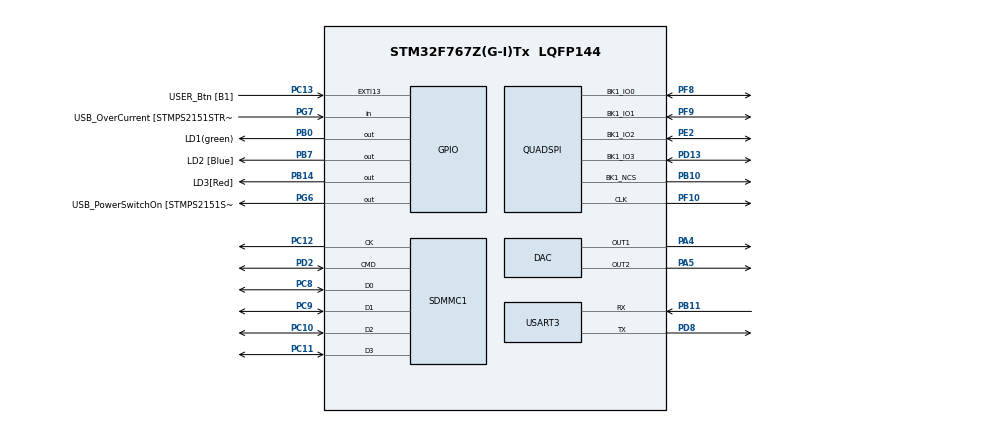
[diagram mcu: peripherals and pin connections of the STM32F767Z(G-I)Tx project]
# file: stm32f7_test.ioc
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CORTEX_M7.ART_ACCLERATOR_ENABLE=1
CORTEX_M7.CPU_DCache=Enabled
CORTEX_M7.CPU_ICache=Enabled
CORTEX_M7.PREFETCH_ENABLE=1
DMA2D.ColorMode=DMA2D_OUTPUT_ARGB4444
Dma.DAC1.0.Direction=DMA_MEMORY_TO_PERIPH
Dma.DAC1.0.FIFOMode=DMA_FIFOMODE_DISABLE
Dma.DAC1.0.Instance=DMA1_Stream5
Dma.DAC1.0.MemDataAlignment=DMA_MDATAALIGN_HALFWORD
Dma.DAC1.0.MemInc=DMA_MINC_ENABLE
Dma.DAC1.0.Mode=DMA_CIRCULAR
Dma.DAC1.0.PeriphDataAlignment=DMA_PDATAALIGN_HALFWORD
Dma.DAC1.0.PeriphInc=DMA_PINC_DISABLE
Dma.DAC1.0.Priority=DMA_PRIORITY_LOW
Dma.DAC2.1.Direction=DMA_MEMORY_TO_PERIPH
Dma.DAC2.1.FIFOMode=DMA_FIFOMODE_DISABLE
Dma.DAC2.1.Instance=DMA1_Stream6
Dma.DAC2.1.MemDataAlignment=DMA_MDATAALIGN_HALFWORD
Dma.DAC2.1.MemInc=DMA_MINC_ENABLE
Dma.DAC2.1.Mode=DMA_CIRCULAR
Dma.DAC2.1.PeriphDataAlignment=DMA_PDATAALIGN_HALFWORD
Dma.DAC2.1.PeriphInc=DMA_PINC_DISABLE
Dma.DAC2.1.Priority=DMA_PRIORITY_LOW
Dma.JPEG_IN.4.Direction=DMA_MEMORY_TO_PERIPH
Dma.JPEG_IN.4.FIFOMode=DMA_FIFOMODE_ENABLE
Dma.JPEG_IN.4.FIFOThreshold=DMA_FIFO_THRESHOLD_FULL
Dma.JPEG_IN.4.Instance=DMA2_Stream0
Dma.JPEG_IN.4.MemBurst=DMA_MBURST_INC4
Dma.JPEG_IN.4.MemDataAlignment=DMA_MDATAALIGN_WORD
Dma.JPEG_IN.4.MemInc=DMA_MINC_ENABLE
Dma.JPEG_IN.4.Mode=DMA_NORMAL
Dma.JPEG_IN.4.PeriphBurst=DMA_PBURST_INC4
Dma.JPEG_IN.4.PeriphDataAlignment=DMA_PDATAALIGN_WORD
Dma.JPEG_IN.4.PeriphInc=DMA_PINC_DISABLE
Dma.JPEG_IN.4.Priority=DMA_PRIORITY_LOW
Dma.JPEG_OUT.3.Direction=DMA_PERIPH_TO_MEMORY
Dma.JPEG_OUT.3.FIFOMode=DMA_FIFOMODE_ENABLE
Dma.JPEG_OUT.3.FIFOThreshold=DMA_FIFO_THRESHOLD_FULL
Dma.JPEG_OUT.3.Instance=DMA2_Stream1
Dma.JPEG_OUT.3.MemBurst=DMA_MBURST_INC4
Dma.JPEG_OUT.3.MemDataAlignment=DMA_MDATAALIGN_WORD
Dma.JPEG_OUT.3.MemInc=DMA_MINC_ENABLE
Dma.JPEG_OUT.3.Mode=DMA_NORMAL
Dma.JPEG_OUT.3.PeriphBurst=DMA_PBURST_INC4
Dma.JPEG_OUT.3.PeriphDataAlignment=DMA_PDATAALIGN_WORD
Dma.JPEG_OUT.3.PeriphInc=DMA_PINC_DISABLE
Dma.JPEG_OUT.3.Priority=DMA_PRIORITY_LOW
Dma.QUADSPI.6.Direction=DMA_PERIPH_TO_MEMORY
Dma.QUADSPI.6.FIFOMode=DMA_FIFOMODE_DISABLE
Dma.QUADSPI.6.Instance=DMA2_Stream2
Dma.QUADSPI.6.MemDataAlignment=DMA_MDATAALIGN_BYTE
Dma.QUADSPI.6.MemInc=DMA_MINC_ENABLE
Dma.QUADSPI.6.Mode=DMA_CIRCULAR
Dma.QUADSPI.6.PeriphDataAlignment=DMA_PDATAALIGN_BYTE
Dma.QUADSPI.6.PeriphInc=DMA_PINC_DISABLE
Dma.QUADSPI.6.Priority=DMA_PRIORITY_HIGH
Dma.Request0=DAC1
Dma.Request1=DAC2
Dma.Request2=SDMMC1
Dma.Request3=JPEG_OUT
Dma.Request4=JPEG_IN
Dma.Request5=USART3_TX
Dma.Request6=QUADSPI
Dma.SDMMC1.2.Direction=DMA_PERIPH_TO_MEMORY
Dma.SDMMC1.2.FIFOMode=DMA_FIFOMODE_ENABLE
Dma.SDMMC1.2.FIFOThreshold=DMA_FIFO_THRESHOLD_FULL
Dma.SDMMC1.2.Instance=DMA2_Stream3
Dma.SDMMC1.2.MemBurst=DMA_MBURST_INC4
Dma.SDMMC1.2.MemDataAlignment=DMA_MDATAALIGN_WORD
Dma.SDMMC1.2.MemInc=DMA_MINC_ENABLE
Dma.SDMMC1.2.Mode=DMA_PFCTRL
Dma.SDMMC1.2.PeriphBurst=DMA_PBURST_INC4
Dma.SDMMC1.2.PeriphDataAlignment=DMA_PDATAALIGN_WORD
Dma.SDMMC1.2.PeriphInc=DMA_PINC_DISABLE
Dma.SDMMC1.2.Priority=DMA_PRIORITY_LOW
Dma.USART3_TX.5.Direction=DMA_MEMORY_TO_PERIPH
Dma.USART3_TX.5.FIFOMode=DMA_FIFOMODE_DISABLE
Dma.USART3_TX.5.Instance=DMA1_Stream3
Dma.USART3_TX.5.MemDataAlignment=DMA_MDATAALIGN_BYTE
Dma.USART3_TX.5.MemInc=DMA_MINC_ENABLE
Dma.USART3_TX.5.Mode=DMA_NORMAL
Dma.USART3_TX.5.PeriphDataAlignment=DMA_PDATAALIGN_BYTE
Dma.USART3_TX.5.PeriphInc=DMA_PINC_DISABLE
Dma.USART3_TX.5.Priority=DMA_PRIORITY_LOW
FATFS._CODE_PAGE=932
FATFS._FS_RPATH=2
FATFS._USE_CHMOD=1
FATFS._USE_FIND=1
FATFS._USE_LFN=2
FATFS._USE_MKFS=0
JPEG.JPEG_RGB_FORMAT=JPEG_RGB565
JPEG.USE_JPEG_DECODER=1
JPEG.USE_JPEG_ENCODER=0
Mcu.Family=STM32F7
Mcu.Name=STM32F767Z(G-I)Tx
Mcu.Package=LQFP144
NVIC.DMA1_Stream3_IRQn=true\:0\:0\:false\:false\:true\:false
NVIC.DMA1_Stream5_IRQn=true\:0\:0\:false\:false\:true\:false
NVIC.DMA1_Stream6_IRQn=true\:0\:0\:false\:false\:true\:false
NVIC.DMA2_Stream0_IRQn=true\:0\:0\:false\:false\:true\:false
NVIC.DMA2_Stream1_IRQn=true\:0\:0\:false\:false\:true\:false
NVIC.DMA2_Stream2_IRQn=true\:0\:0\:false\:false\:true\:true
NVIC.DMA2_Stream3_IRQn=true\:0\:0\:false\:false\:true\:false
NVIC.JPEG_IRQn=true\:0\:0\:false\:false\:true\:false
NVIC.PriorityGroup=NVIC_PRIORITYGROUP_4
PA1.GPIO_Label=RMII_REF_CLK [LAN8742A-CZ-TR_REFCLK0]
PA1.Signal=ETH_REF_CLK
PA10.GPIO_Label=USB_ID
PA10.Signal=USB_OTG_FS_ID
PA11.GPIO_Label=USB_DM
PA11.Signal=USB_OTG_FS_DM
PA12.GPIO_Label=USB_DP
PA12.Signal=USB_OTG_FS_DP
PA13.GPIO_Label=TMS
PA13.Mode=Serial_Wire
PA13.Signal=SYS_JTMS-SWDIO
PA14.GPIO_Label=TCK
PA14.Mode=Serial_Wire
PA14.Signal=SYS_JTCK-SWCLK
PA2.GPIO_Label=RMII_MDIO [LAN8742A-CZ-TR_MDIO]
PA2.Signal=ETH_MDIO
PA4.Signal=COMP_DAC1_group
PA5.Signal=COMP_DAC2_group
PA7.GPIO_Label=RMII_CRS_DV [LAN8742A-CZ-TR_CRS_DV]
PA7.Signal=ETH_CRS_DV
PA8.GPIO_Label=USB_SOF [TP1]
PA8.Signal=USB_OTG_FS_SOF
PA9.GPIO_Label=USB_VBUS
PA9.Signal=USB_OTG_FS_VBUS
PB0.GPIO_Label=LD1(green)
PB0.Signal=GPIO_Output
PB10.Mode=Single Bank 1
PB10.Signal=QUADSPI_BK1_NCS
PB11.Mode=Asynchronous
PB11.Signal=USART3_RX
PB14.GPIO_Label=LD3[Red]
PB14.Signal=GPIO_Output
PB3.GPIO_Label=SW0
PB3.Signal=SYS_JTDO-SWO
PB7.GPIO_Label=LD2 [Blue]
PB7.Signal=GPIO_Output
PC1.GPIO_Label=RMII_MDC [LAN8742A-CZ-TR_MDC]
PC1.Signal=ETH_MDC
PC10.Mode=SD_4_bits_Wide_bus
PC10.Signal=SDMMC1_D2
PC11.Mode=SD_4_bits_Wide_bus
PC11.Signal=SDMMC1_D3
PC12.Mode=SD_4_bits_Wide_bus
PC12.Signal=SDMMC1_CK
PC13.GPIO_Label=USER_Btn [B1]
PC13.Signal=GPXTI13
PC14/OSC32_IN.Signal=RCC_OSC32_IN
PC15/OSC32_OUT.Signal=RCC_OSC32_OUT
PC4.GPIO_Label=RMII_RXD0 [LAN8742A-CZ-TR_RXD0]
PC4.Signal=ETH_RXD0
PC5.GPIO_Label=RMII_RXD1 [LAN8742A-CZ-TR_RXD1]
PC5.Signal=ETH_RXD1
PC8.Mode=SD_4_bits_Wide_bus
PC8.Signal=SDMMC1_D0
PC9.Mode=SD_4_bits_Wide_bus
PC9.Signal=SDMMC1_D1
PD13.Mode=Single Bank 1
PD13.Signal=QUADSPI_BK1_IO3
PD2.Mode=SD_4_bits_Wide_bus
PD2.Signal=SDMMC1_CMD
PD8.Mode=Asynchronous
PD8.Signal=USART3_TX
PE2.Mode=Single Bank 1
PE2.Signal=QUADSPI_BK1_IO2
PF10.Mode=Single Bank 1
PF10.Signal=QUADSPI_CLK
PF8.Mode=Single Bank 1
PF8.Signal=QUADSPI_BK1_IO0
PF9.Mode=Single Bank 1
PF9.Signal=QUADSPI_BK1_IO1
PG11.GPIO_Label=RMII_TX_EN [LAN8742A-CZ-TR_TXEN]
PG11.Signal=ETH_TX_EN
PG13.GPIO_Label=RMII_TXD0 [LAN8742A-CZ-TR_TXD0]
PG13.Signal=ETH_TXD0
PG6.GPIO_Label=USB_PowerSwitchOn [STMPS2151STR_EN]
PG6.Signal=GPIO_Output
PG7.GPIO_Label=USB_OverCurrent [STMPS2151STR_FAULT]
PG7.Signal=GPIO_Input
PH0/OSC_IN.GPIO_Label=MCO [STM32F103CBT6_PA8]
PH0/OSC_IN.Mode=HSE-External-Clock-Source
PH0/OSC_IN.Signal=RCC_OSC_IN
PH1/OSC_OUT.Mode=HSE-External-Clock-Source
PH1/OSC_OUT.Signal=RCC_OSC_OUT
ProjectManager.HeapSize=0x200
ProjectManager.StackSize=0x400
ProjectManager.TargetToolchain=Makefile
QUADSPI.ClockMode=QSPI_CLOCK_MODE_3
QUADSPI.FifoThreshold=4
QUADSPI.FlashSize=31
RCC.48MHZClocksFreq_Value=24000000
RCC.AHBFreq_Value=16000000
RCC.APB1CLKDivider=RCC_HCLK_DIV4
RCC.APB1Freq_Value=4000000
RCC.APB1TimFreq_Value=8000000
RCC.APB2CLKDivider=RCC_HCLK_DIV2
RCC.APB2Freq_Value=8000000
RCC.APB2TimFreq_Value=16000000
RCC.CortexFreq_Value=16000000
RCC.HCLKFreq_Value=16000000
RCC.HSE_VALUE=8000000
RCC.HSI_VALUE=16000000
RCC.LSE_VALUE=32768
RCC.PLLI2SN=295
RCC.PLLMUL=RCC_PLL_MUL9
RCC.PLLN=384
RCC.PLLQ=8
RCC.PLLSAIN=215
RCC.PLLSAIP=RCC_PLLSAIP_DIV8
RCC.PRESCALERUSB=RCC_USBCLKSOURCE_PLL_DIV1_5
RCC.SDMMCClockSelection=RCC_SDMMC1CLKSOURCE_CLK48
RCC.SYSCLKFreq_VALUE=16000000
RCC.SYSCLKSourceVirtual=RCC_SYSCLKSOURCE_PLLCLK
RCC.USBFreq_Value=48000000
RCC.VCOOutputFreq_Value=384000000
SH.COMP_DAC1_group.0=DAC_OUT1,DAC_OUT1
SH.COMP_DAC2_group.0=DAC_OUT2,DAC_OUT2
USART3.VirtualMode-Asynchronous=VM_ASYNC
USART3.WordLength=WORDLENGTH_8B
VP_DMA2D_VS_DMA2D.Mode=DMA2D_Activate
VP_FATFS_VS_SDIO.Mode=SDIO
VP_JPEG_VS_JPEG.Mode=JPEG_Activate
VP_RNG_VS_RNG.Mode=RNG_Activate
board=NUCLEO-F767ZI

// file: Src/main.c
/**
  ******************************************************************************
  * File Name          : main.c
  * Description        : Main program body
  ******************************************************************************
  * This notice applies to any and all portions of this file
  * that are not between comment pairs USER CODE BEGIN and
  * USER CODE END. Other portions of this file, whether
  * inserted by the user or by software development tools
  * are owned by their respective copyright owners.
  *
  * Copyright (c) 2017 STMicroelectronics International N.V.
  * All rights reserved.
  *
  * Redistribution and use in source and binary forms, with or without
  * modification, are permitted, provided that the following conditions are met:
  *
  * 1. Redistribution of source code must retain the above copyright notice,
  *    this list of conditions and the following disclaimer.
  * 2. Redistributions in binary form must reproduce the above copyright notice,
  *    this list of conditions and the following disclaimer in the documentation
  *    and/or other materials provided with the distribution.
  * 3. Neither the name of STMicroelectronics nor the names of other
  *    contributors to this software may be used to endorse or promote products
  *    derived from this software without specific written permission.
  * 4. This software, including modifications and/or derivative works of this
  *    software, must execute solely and exclusively on microcontroller or
  *    microprocessor devices manufactured by or for STMicroelectronics.
  * 5. Redistribution and use of this software other than as permitted under
  *    this license is void and will automatically terminate your rights under
  *    this license.
  *
  * THIS SOFTWARE IS PROVIDED BY STMICROELECTRONICS AND CONTRIBUTORS "AS IS"
  * AND ANY EXPRESS, IMPLIED OR STATUTORY WARRANTIES, INCLUDING, BUT NOT
  * LIMITED TO, THE IMPLIED WARRANTIES OF MERCHANTABILITY, FITNESS FOR A
  * PARTICULAR PURPOSE AND NON-INFRINGEMENT OF THIRD PARTY INTELLECTUAL PROPERTY
  * RIGHTS ARE DISCLAIMED TO THE FULLEST EXTENT PERMITTED BY LAW. IN NO EVENT
  * SHALL STMICROELECTRONICS OR CONTRIBUTORS BE LIABLE FOR ANY DIRECT, INDIRECT,
  * INCIDENTAL, SPECIAL, EXEMPLARY, OR CONSEQUENTIAL DAMAGES (INCLUDING, BUT NOT
  * LIMITED TO, PROCUREMENT OF SUBSTITUTE GOODS OR SERVICES; LOSS OF USE, DATA,
  * OR PROFITS; OR BUSINESS INTERRUPTION) HOWEVER CAUSED AND ON ANY THEORY OF
  * LIABILITY, WHETHER IN CONTRACT, STRICT LIABILITY, OR TORT (INCLUDING
  * NEGLIGENCE OR OTHERWISE) ARISING IN ANY WAY OUT OF THE USE OF THIS SOFTWARE,
  * EVEN IF ADVISED OF THE POSSIBILITY OF SUCH DAMAGE.
  *
  ******************************************************************************
  */
#include "main.h"
#include "stm32f7xx_hal.h"
#include "dac.h"
#include "dma.h"
#include "dma2d.h"
#include "fatfs.h"
#include "jpeg.h"
#include "quadspi.h"
#include "rng.h"
#include "sdmmc.h"
#include "usart.h"
#include "gpio.h"

/* USER CODE BEGIN Includes */
#include "composite.h"
/* USER CODE END Includes */

/* USER CODE BEGIN PV */
/* Private variables ---------------------------------------------------------*/

/* USER CODE END PV */

void SystemClock_Config(void);

/* USER CODE BEGIN PFP */
/* Private function prototypes -----------------------------------------------*/

/* USER CODE END PFP */

int main(void)
{
  /* USER CODE BEGIN 1 */
  QSPI_CommandTypeDef sCommand;

  sCommand.InstructionMode   = QSPI_INSTRUCTION_NONE;
  sCommand.AddressSize       = QSPI_ADDRESS_32_BITS;
  sCommand.AlternateByteMode = QSPI_ALTERNATE_BYTES_NONE;
  sCommand.DdrMode           = QSPI_DDR_MODE_ENABLE;
  sCommand.DdrHoldHalfCycle  = QSPI_DDR_HHC_ANALOG_DELAY;
  sCommand.SIOOMode          = QSPI_SIOO_INST_EVERY_CMD;
  sCommand.AddressMode = QSPI_ADDRESS_4_LINES;
  sCommand.Address     = 0;
  sCommand.DataMode    = QSPI_DATA_4_LINES;
  sCommand.DummyCycles = 0;

  /* USER CODE END 1 */

  /* Enable I-Cache-------------------------------------------------------------*/
  SCB_EnableICache();

  /* Enable D-Cache-------------------------------------------------------------*/
  SCB_EnableDCache();

  /* MCU Configuration----------------------------------------------------------*/

  /* Reset of all peripherals, Initializes the Flash interface and the Systick. */
  HAL_Init();

  /* Configure the system clock */
  SystemClock_Config();

  /* Initialize all configured peripherals */
  MX_GPIO_Init();
  MX_DMA_Init();
  MX_DMA2D_Init();
  MX_RNG_Init();
  MX_JPEG_Init();
  MX_DAC_Init();
  MX_SDMMC1_SD_Init();
  MX_FATFS_Init();
  MX_USART3_UART_Init();
  MX_QUADSPI_Init();

  /* Infinite loop */
  while (1)
  {
    /* USER CODE BEGIN 3 */

    QSPI_Config_infenity(&hqspi, &sCommand, 0);
    HAL_QSPI_Transmit_DMA_infenity(&hqspi,composite_buffer ,sizeof(composite_buffer));
    while(1);
  }
  /* USER CODE END 3 */

}

/** System Clock Configuration
*/
void SystemClock_Config(void)
{

  RCC_OscInitTypeDef RCC_OscInitStruct;
  RCC_ClkInitTypeDef RCC_ClkInitStruct;
  RCC_PeriphCLKInitTypeDef PeriphClkInitStruct;

    /**Configure the main internal regulator output voltage
    */
  __HAL_RCC_PWR_CLK_ENABLE();

  __HAL_PWR_VOLTAGESCALING_CONFIG(PWR_REGULATOR_VOLTAGE_SCALE1);

  /**Initializes the CPU, AHB and APB busses clocks
   */
  RCC_OscInitStruct.OscillatorType = RCC_OSCILLATORTYPE_HSE;
  RCC_OscInitStruct.HSEState = RCC_HSE_ON;
  RCC_OscInitStruct.PLL.PLLState = RCC_PLL_ON;
  RCC_OscInitStruct.PLL.PLLSource = RCC_PLLSOURCE_HSE;
  RCC_OscInitStruct.PLL.PLLM = 3;
  RCC_OscInitStruct.PLL.PLLN = 150;//336;
  RCC_OscInitStruct.PLL.PLLP = RCC_PLLP_DIV8;
  RCC_OscInitStruct.PLL.PLLQ = 8;
  if (HAL_RCC_OscConfig(&RCC_OscInitStruct) != HAL_OK)
  {
    _Error_Handler(__FILE__, __LINE__);
  }

    /**Initializes the CPU, AHB and APB busses clocks
    */
  RCC_ClkInitStruct.ClockType = RCC_CLOCKTYPE_HCLK|RCC_CLOCKTYPE_SYSCLK
                              |RCC_CLOCKTYPE_PCLK1|RCC_CLOCKTYPE_PCLK2;
  RCC_ClkInitStruct.SYSCLKSource = RCC_SYSCLKSOURCE_HSE;
  RCC_ClkInitStruct.AHBCLKDivider = RCC_SYSCLK_DIV1;
  RCC_ClkInitStruct.APB1CLKDivider = RCC_HCLK_DIV4;
  RCC_ClkInitStruct.APB2CLKDivider = RCC_HCLK_DIV2;

  if (HAL_RCC_ClockConfig(&RCC_ClkInitStruct, FLASH_LATENCY_6) != HAL_OK)
  {
    _Error_Handler(__FILE__, __LINE__);
  }

  PeriphClkInitStruct.PeriphClockSelection = RCC_PERIPHCLK_USART3|RCC_PERIPHCLK_SDMMC1
                              |RCC_PERIPHCLK_CLK48;
  PeriphClkInitStruct.PLLSAI.PLLSAIN = 241;
  PeriphClkInitStruct.PLLSAI.PLLSAIR = 2;
  PeriphClkInitStruct.PLLSAI.PLLSAIQ = 2;
  PeriphClkInitStruct.PLLSAI.PLLSAIP = RCC_PLLSAIP_DIV6;
  PeriphClkInitStruct.PLLSAIDivQ = 1;
  PeriphClkInitStruct.PLLSAIDivR = RCC_PLLSAIDIVR_2;
  PeriphClkInitStruct.Usart3ClockSelection = RCC_USART3CLKSOURCE_PCLK1;
  PeriphClkInitStruct.Clk48ClockSelection = RCC_CLK48SOURCE_PLLSAIP;
  PeriphClkInitStruct.Sdmmc1ClockSelection = RCC_SDMMC1CLKSOURCE_CLK48;
  if (HAL_RCCEx_PeriphCLKConfig(&PeriphClkInitStruct) != HAL_OK)
  {
    _Error_Handler(__FILE__, __LINE__);
  }

    /**Configure the Systick interrupt time
    */
  HAL_SYSTICK_Config(HAL_RCC_GetHCLKFreq()/1000);

    /**Configure the Systick
    */
  HAL_SYSTICK_CLKSourceConfig(SYSTICK_CLKSOURCE_HCLK);

  /* SysTick_IRQn interrupt configuration */
  HAL_NVIC_SetPriority(SysTick_IRQn, 0, 0);
}

void _Error_Handler(char * file, int line)
{
  while(1)
  {
  }
}

/************************ (C) COPYRIGHT STMicroelectronics *****END OF FILE****/
